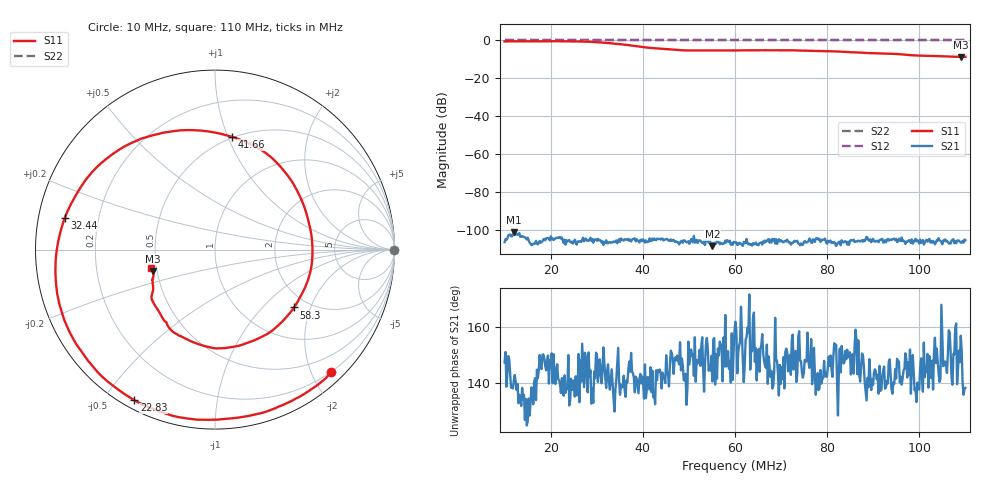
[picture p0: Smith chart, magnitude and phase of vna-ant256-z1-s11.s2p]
! Anritsu VNA Master:  Model: MS2034B/10/19/501
! SN:  1337062
! /bd0/ovro-jan-2016/vna-jan/vna-ant256-z1-s11.s2p
! Existing Calibration Information:
! TYPE:  Current Settings,  Active Cal Settings
! TIME:  01/13/2016 02:32:56 PM,  01/13/2016 02:09:05 PM
! INTERNAL TEMP:  36.8 C,  41.3 C
! # POINTS:  500,  500
! START FREQ:  10.000 MHz,  10.000 MHz
! STOP FREQ:  110.000 MHz,  110.000 MHz
! SOURCE POWER:  High,  High
! IFBW:  100 Hz,  100 Hz
! AVG FACTOR:  4 ,  4
! REF PLANE 1:  0 mm,  0 mm
! REF PLANE 2:  0 mm,  0 mm
! CAL TYPE:  Full S11,  Full S11
! CAL METHOD:  SOLT,  SOLT
! CAL LINE TYPE:  Coax,  Coax
! DUT PORT 1:  K-Conn(M),  K-Conn(M)
! DUT PORT 2:  N-Conn(M),  N-Conn(M)
! CAL STATUS:  OK: Accuracy High,  --
# GHZ S DB R 50.0
! FREQ.GHZ  S11DB  S11A  S21DB  S21A  S12DB  S12A  S22DB  S22A
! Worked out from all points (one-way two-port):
!   500 points, 10 MHz to 110 MHz, reference 50 ohm
!   highest |S21| = -101.41 dB at 12 MHz (marker M1); lowest = -108.8 dB at 55.09 MHz (marker M2)
!   lowest |S11| = -8.7 dB at 109 MHz (marker M3), VSWR 2.17, Z = 23.6 - j6.57 ohm
!   |S11| at or under -10 dB: nowhere
!   |S22| runs from 0.0 to 0.0 dB; largest |S21 - S12| = 1
!   S11 on the Smith chart (normalised r, x): 10 MHz: 0.20, -2.31; 22.83 MHz: 0.03, -0.60; 32.44 MHz: 0.08, +0.10; 41.66 MHz: 0.49, +1.04; 58.3 MHz: 1.68, -1.54; 110 MHz: 0.47, -0.11
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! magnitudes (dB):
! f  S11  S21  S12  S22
! 10 MHz  -0.5  -106.7  0.0  0.0
! 12 MHz  -0.5  -101.4  0.0  0.0
! 22.83 MHz  -0.4  -107.2  0.0  0.0
! 26.83 MHz  -0.6  -105.2  0.0  0.0
! 29.24 MHz  -0.8  -107.0  0.0  0.0
! 32.44 MHz  -1.4  -107.2  0.0  0.0
! 35.45 MHz  -2.0  -105.3  0.0  0.0
! 41.66 MHz  -3.9  -106.2  0.0  0.0
! 43.47 MHz  -4.3  -104.9  0.0  0.0
! 49.28 MHz  -5.3  -106.2  0.0  0.0
! 55.09 MHz  -5.3  -108.8  0.0  0.0
! 58.3 MHz  -5.3  -105.6  0.0  0.0
! 60.1 MHz  -5.2  -106.9  0.0  0.0
! 71.72 MHz  -5.2  -106.9  0.0  0.0
! 76.73 MHz  -5.5  -107.1  0.0  0.0
! 81.94 MHz  -5.8  -108.7  0.0  0.0
! 89.36 MHz  -6.7  -105.2  0.0  0.0
! 93.37 MHz  -7.0  -105.9  0.0  0.0
! 95.37 MHz  -7.2  -106.4  0.0  0.0
! 99.38 MHz  -8.0  -106.3  0.0  0.0
! 109 MHz  -8.7  -106.9  0.0  0.0
! 110 MHz  -8.7  -105.7  0.0  0.0
